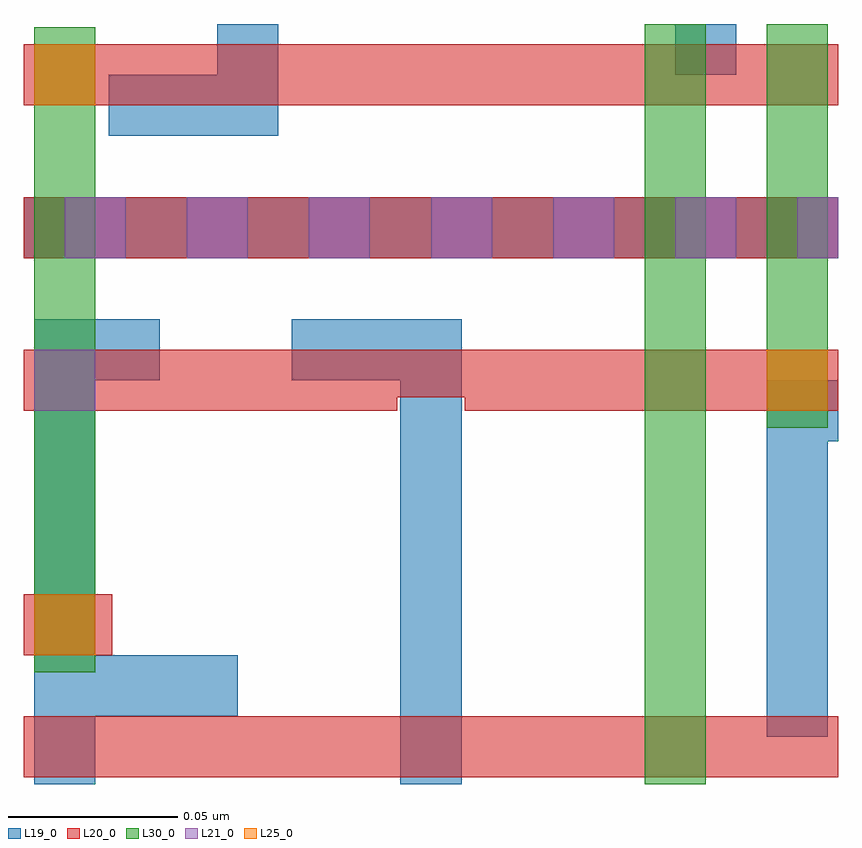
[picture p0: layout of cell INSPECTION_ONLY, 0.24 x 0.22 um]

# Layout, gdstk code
import gdstk
lib = gdstk.Library(unit=1e-6, precision=2.5e-10)
def R(c, l, rs):  # rectangles x0, y0, x1, y1
    for r in rs: c.add(gdstk.rectangle(r[:2], r[2:], *l))
def A(c, l, x, y, w, h, nx, ny, dx, dy):  # array of equal rectangles
    R(c, l, [(x+i*dx, y+j*dy, x+i*dx+w, y+j*dy+h) for i in range(nx) for j in range(ny)])
def P(c, l, *ps):  # polygons
    for p in ps: c.add(gdstk.Polygon(p, *l))
L19_0 = (19, 0)
L20_0 = (20, 0)
L21_0 = (21, 0)
L25_0 = (25, 0)
L30_0 = (30, 0)

inspection_only = lib.new_cell('INSPECTION_ONLY')
R(inspection_only, L19_0, [(2.124,2.104,2.142,2.126), (2.121,2.151,2.361,2.169), (2.121,2.151,2.361,2.169), (2.121,2.151,2.361,2.169), (2.121,2.151,2.268,2.169), (2.268,2.151,2.361,2.169), (2.313,2.205,2.331,2.22)])
P(inspection_only, L19_0, [(2.146,2.187),(2.146,2.205),(2.178,2.205),(2.178,2.22),(2.196,2.22),(2.196,2.187)],
  [(2.124,1.996),(2.124,2.133),(2.161,2.133),(2.161,2.115),(2.142,2.115),(2.142,2.034),(2.184,2.034),(2.184,2.016),(2.142,2.016),(2.142,1.996)],
  [(2.232,1.996),(2.232,2.115),(2.2,2.115),(2.2,2.133),(2.25,2.133),(2.25,1.996)],
  [(2.34,2.01),(2.34,2.115),(2.361,2.115),(2.361,2.097),(2.358,2.097),(2.358,2.01)])
R(inspection_only, L20_0, [(2.121,1.998,2.361,2.016), (2.121,2.034,2.147,2.052), (2.121,2.151,2.361,2.169), (2.121,2.196,2.361,2.214)])
P(inspection_only, L20_0, [(2.121,2.106),(2.121,2.124),(2.361,2.124),(2.361,2.106),(2.251,2.106),(2.251,2.11),(2.231,2.11),(2.231,2.106)])
A(inspection_only, L21_0, 2.133, 2.151, 0.018, 0.018, 6, 1, 0.036, 0)
R(inspection_only, L21_0, [(2.124,2.106,2.142,2.124), (2.349,2.151,2.361,2.169)])
R(inspection_only, L25_0, [(2.124,2.034,2.142,2.052), (2.34,2.106,2.358,2.124), (2.124,2.196,2.142,2.214)])
R(inspection_only, L30_0, [(2.304,1.996,2.322,2.22), (2.124,2.029,2.142,2.219), (2.34,2.101,2.358,2.22)])

lib.write_gds('INSPECTION_ONLY.gds')
